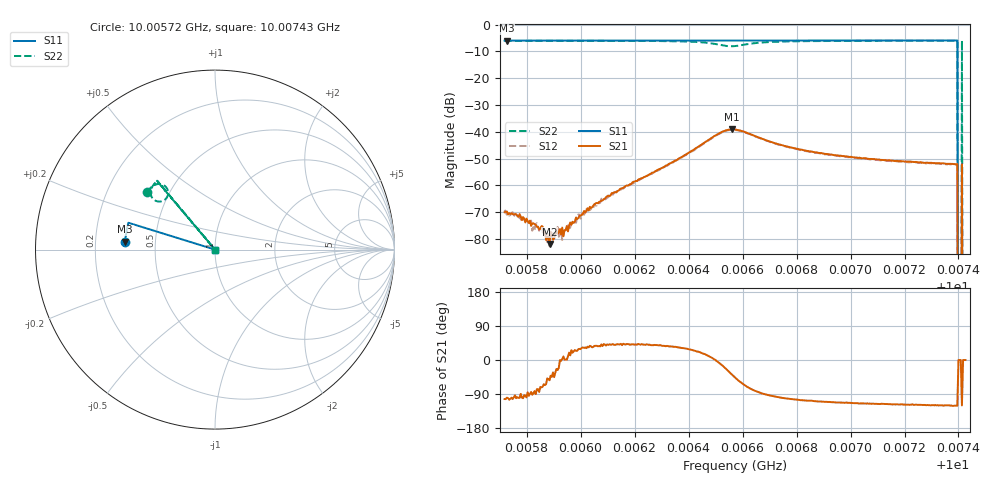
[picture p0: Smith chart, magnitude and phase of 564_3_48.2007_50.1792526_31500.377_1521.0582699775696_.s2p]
#  HZ  S  RI  R  50.00
! Rohde & Schwarz Vector Network Analyzer
! Rohde-Schwarz,ZNB20-2Port,1311601062101988,3.16
! Created: UTC 3/20/2024, 12:01:19 PM
! freq[Hz]  re:S11  im:S11  re:S21  im:S21  re:S12  im:S12  re:S22  im:S22
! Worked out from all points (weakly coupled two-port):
!   401 points, 10.00572 GHz to 10.00743 GHz, reference 50 ohm
!   highest |S21| = -39.11 dB at 10.00656 GHz (marker M1); lowest = -81.9 dB at 10.00589 GHz (marker M2)
!   lowest |S11| = -6.0 dB at 10.00573 GHz (marker M3), VSWR 3.01, Z = 16.6 + j1.93 ohm
!   |S11| at or under -10 dB: 10.0074 GHz to end of sweep
!   |S22| runs from - to -6.0 dB; largest |S21 - S12| = 0.0007
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1.0005719e10  -0.5001 0.0429  -7.14e-05 -0.000307  -5.32e-05 -0.000344  -0.3813 0.3191
1.0005727e10  -0.5 0.0434  -5.31e-05 -0.00032  -5.19e-05 -0.000278  -0.381 0.3196
1.0005847e10  -0.4996 0.0512  1.49e-05 -0.000149  -1.89e-05 -0.000141  -0.3751 0.327
1.0005877e10  -0.4994 0.0532  7e-05 -7.93e-05  5.04e-05 -6.74e-05  -0.3734 0.3289
1.0005885e10  -0.4995 0.054  4.8e-05 -6.48e-05  3.47e-05 -6.43e-05  -0.373 0.3294
1.0005919e10  -0.4993 0.0559  0.000123 -4.71e-05  0.000105 -2.9e-05  -0.3712 0.3316
1.0005928e10  -0.4992 0.0565  0.000121 -4.52e-06  0.000136 -3.77e-06  -0.3707 0.3321
1.0005945e10  -0.4992 0.0576  0.000145 2.32e-06  0.000155 4.28e-05  -0.3696 0.3332
1.0006005e10  -0.4988 0.0615  0.000238 0.000149  0.00026 0.000143  -0.366 0.3371
1.0006124e10  -0.4979 0.0693  0.000566 0.000477  0.00054 0.000483  -0.3577 0.3454
1.000629e10  -0.4965 0.0801  0.00157 0.00125  0.00146 0.00127  -0.3393 0.3585
1.0006512e10  -0.4938 0.0942  0.00924 -0.00114  0.00901 -0.000616  -0.2627 0.3297
1.0006559e10  -0.4932 0.0968  0.00879 -0.00676  0.00897 -0.0061  -0.277 0.2799
1.0006572e10  -0.4931 0.0973  0.00765 -0.00796  0.00794 -0.00732  -0.2898 0.2715
1.0006858e10  -0.4907 0.1157  -0.00128 -0.00406  -0.00107 -0.00403  -0.3538 0.3416
1.0007144e10  -0.4867 0.1339  -0.00131 -0.00263  -0.00116 -0.00263  -0.337 0.3677
1.0007387e10  -0.4829 0.1491  -0.00126 -0.00215  -0.00115 -0.00217  -0.3237 0.3823
1.00074e10  0 0  0 0  0 0  0 0
1.0007404e10  0 0  0 0  0 0  0 0
1.0007408e10  0 0  0 0  0 0  0 0
1.0007421e10  0 0  0 0  0 0  0 0
1.0007426e10  0 0  0 0  0 0  0 0
